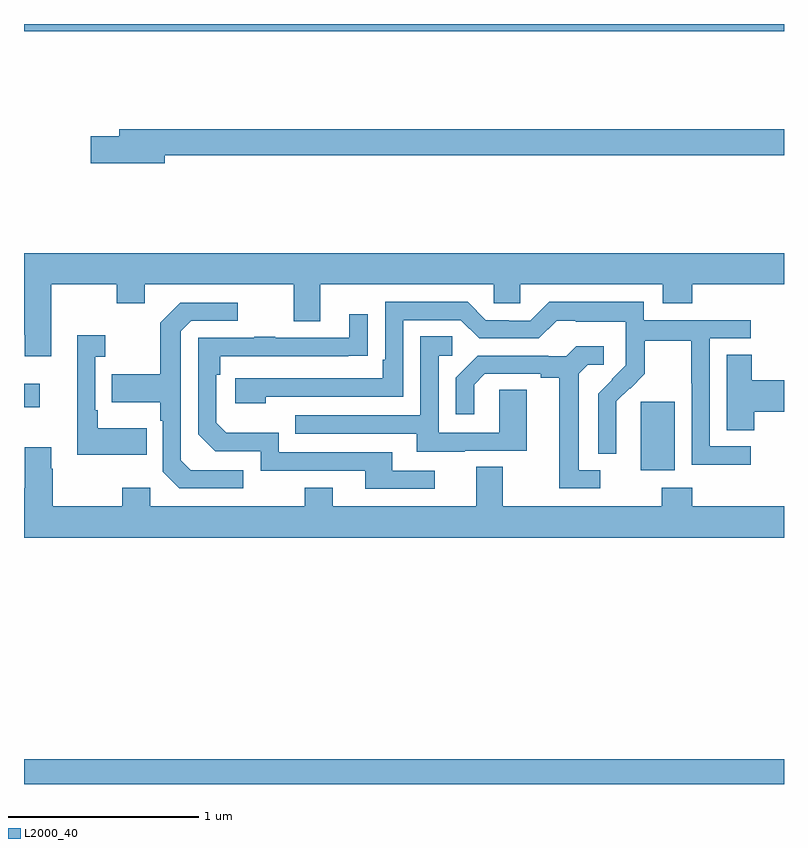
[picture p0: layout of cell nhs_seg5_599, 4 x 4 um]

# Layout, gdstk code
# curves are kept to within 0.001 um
import gdstk
lib = gdstk.Library(unit=1e-6, precision=1e-09)
def R(c, l, rs):  # rectangles x0, y0, x1, y1
    for r in rs: c.add(gdstk.rectangle(r[:2], r[2:], *l))
def P(c, l, *ps):  # polygons
    for p in ps: c.add(gdstk.Polygon(p, *l))
L2000_40 = (2000, 40)

nhs_seg5_599 = lib.new_cell('nhs_seg5_599')
R(nhs_seg5_599, L2000_40, [(149,852.799,153,852.928), (152.246,854.45,152.425,854.811), (149,854.783,149.083,854.905), (149,856.76,153,856.799)])
P(nhs_seg5_599, L2000_40, [(149.74,856.108),(153,856.108),(153,856.244),(149.501,856.244),(149.501,856.208),(149.352,856.208),(149.352,856.066),(149.74,856.066)],
  [(149.143,855.428),(149.488,855.428),(149.488,855.329),(149.635,855.329),(149.635,855.428),(150.419,855.428),(150.419,855.234),(150.559,855.234),(150.559,855.428),(151.473,855.428),(151.473,855.33),(151.611,855.33),(151.611,855.428),(152.363,855.428),(152.363,855.329),(152.516,855.329),(152.516,855.428),(153,855.428),(153,855.592),(149,855.592),(149,855.163),(149.003,855.163),(149.003,855.051),(149.143,855.051)],
  [(152.824,854.577),(152.61,854.577),(152.61,855.144),(152.824,855.144),(152.824,855.24),(152.262,855.24),(152.262,855.337),(151.765,855.337),(151.665,855.237),(151.55,855.237),(151.55,855.24),(151.431,855.24),(151.335,855.336),(150.9,855.336),(150.9,855.031),(150.887,855.031),(150.887,854.934),(150.111,854.934),(150.111,854.804),(150.272,854.804),(150.272,854.838),(150.996,854.838),(150.996,855.24),(151.299,855.24),(151.395,855.144),(151.71,855.144),(151.803,855.237),(151.903,855.237),(151.903,855.233),(152.166,855.233),(152.166,855.099),(152.168,855.099),(152.168,855.002),(152.022,854.854),(152.022,854.536),(152.118,854.536),(152.117,854.813),(152.187,854.883),(152.19,854.88),(152.267,854.957),(152.267,855.132),(152.512,855.132),(152.512,854.908),(152.514,854.908),(152.514,854.479),(152.824,854.479)],
  [(150.154,854.451),(149.877,854.451),(149.826,854.502),(149.826,855.183),(149.88,855.237),(150.124,855.237),(150.124,855.333),(149.823,855.333),(149.718,855.227),(149.718,854.955),(149.461,854.955),(149.461,854.807),(149.718,854.807),(149.718,854.711),(149.73,854.711),(149.73,854.442),(149.817,854.355),(150.154,854.355)],
  [(151.162,854.448),(150.937,854.448),(150.937,854.544),(150.342,854.544),(150.342,854.647),(150.065,854.647),(150.012,854.7),(150.012,854.954),(150.032,854.954),(150.032,855.051),(150.809,855.052),(150.809,855.271),(150.713,855.271),(150.713,855.147),(150.323,855.147),(150.323,855.152),(150.211,855.152),(150.211,855.147),(149.916,855.147),(149.916,854.64),(150.006,854.55),(150.246,854.55),(150.246,854.448),(150.797,854.448),(150.797,854.352),(151.162,854.352)],
  [(149.645,854.671),(149.389,854.671),(149.389,854.767),(149.376,854.767),(149.376,855.047),(149.428,855.047),(149.428,855.16),(149.279,855.16),(149.279,854.531),(149.645,854.531)],
  [(151.321,854.553),(151.645,854.553),(151.645,854.873),(151.5,854.873),(151.5,854.649),(151.182,854.649),(151.182,855.054),(151.255,855.054),(151.255,855.155),(151.086,855.155),(151.086,854.739),(150.427,854.739),(150.427,854.643),(151.067,854.643),(151.067,854.549),(151.321,854.549)],
  [(152.032,854.451),(151.921,854.451),(151.921,854.959),(151.968,855.006),(152.05,855.006),(152.05,855.103),(151.906,855.103),(151.854,855.051),(151.76,855.051),(151.76,855.054),(151.388,855.054),(151.272,854.938),(151.272,854.745),(151.369,854.745),(151.369,854.901),(151.426,854.958),(151.721,854.958),(151.721,854.936),(151.817,854.936),(151.817,854.355),(152.032,854.355)],
  [(152.843,854.758),(153,854.758),(153,854.923),(152.83,854.923),(152.83,855.059),(152.699,855.059),(152.699,854.662),(152.843,854.662)],
  [(153,854.26),(152.516,854.26),(152.516,854.359),(152.356,854.359),(152.356,854.26),(151.519,854.26),(151.519,854.468),(151.379,854.468),(151.379,854.26),(150.625,854.26),(150.625,854.359),(150.478,854.359),(150.478,854.26),(149.664,854.26),(149.664,854.359),(149.518,854.359),(149.518,854.26),(149.151,854.26),(149.151,854.459),(149.143,854.459),(149.143,854.572),(149.003,854.572),(149.003,854.356),(149,854.356),(149,854.096),(153,854.096)])

lib.write_gds('nhs_seg5_599.gds')
